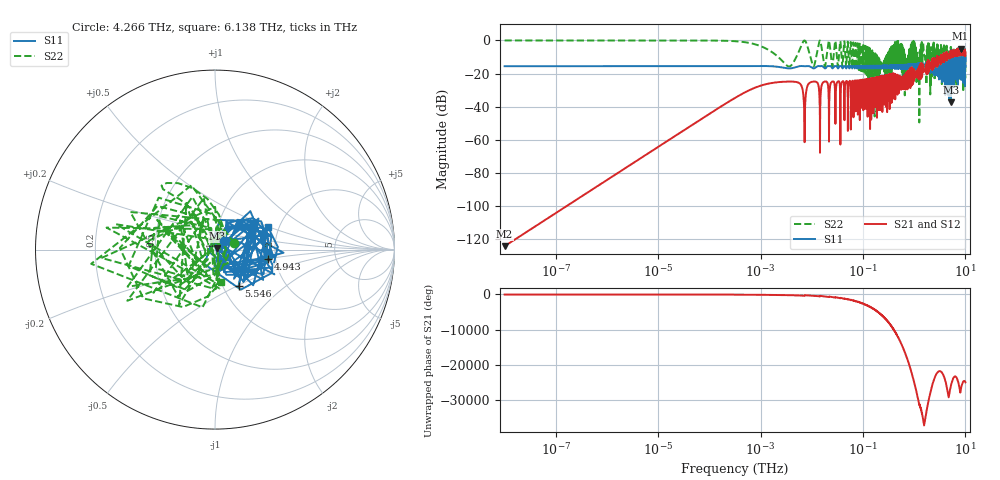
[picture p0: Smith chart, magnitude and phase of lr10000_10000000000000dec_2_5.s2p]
! NPort=2 DATA=4501 NOISE=0 GROUPDELAY=0 COMPLEX_DATAFORMAT=RI
! NumOfBlock=1 NumOfParam=0
! .MODEL Smodel S TSTONEFILE=./link_rx/link_rx_s3/lr10000_10000000000000dec_2_5.s2p TYPE=S
!  -- The above .MODEL line can be used for the S element in the netlist.
# Hz S RI R  50
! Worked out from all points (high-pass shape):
!   4501 points, 10 kHz to 10 THz, reference 50 ohm
!   highest |S21| = -4.89 dB at 8.054 THz (marker M1); lowest = -124.3 dB at 10 kHz (marker M2)
!   |S21| within 3 dB of the highest: 7.645 THz to 7.819 THz (173.4 GHz wide, 2.24 % of centre); 9.153 THz to 9.45 THz (297.4 GHz wide, 3.2 % of centre)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
!   lowest |S11| = -37.3 dB at 5.2 THz (marker M3), VSWR 1.03, Z = 51.1 + j0.847 ohm
!   |S11| at or under -10 dB: start of sweep to 4.304 THz; 4.307 THz to 4.918 THz (611.3 GHz wide, 13.3 % of centre); 4.925 THz to 5.248 THz (322.4 GHz wide, 6.34 % of centre)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
!   |S22| runs from -49.5 to 0.0 dB; largest |S21 - S12| = 1e-10
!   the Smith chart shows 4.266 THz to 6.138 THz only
!   S11 on the Smith chart (normalised r, x): 4.266 THz: 1.10, +0.10; 4.943 THz: 1.83, -0.22; 5.546 THz: 1.19, -0.51; 6.138 THz: 1.76, +0.48
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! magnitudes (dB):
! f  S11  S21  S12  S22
! 10 kHz  -15.6  -124.3  -124.3  0.0
! 316.2 kHz  -15.6  -94.3  -94.3  0.0
! 1.652 MHz  -15.6  -79.9  -79.9  0.0
! 10 MHz  -15.6  -64.3  -64.3  0.0
! 316.2 MHz  -15.5  -34.7  -34.7  -0.5
! 3.581 GHz  -16.9  -24.9  -24.9  -15.7
! 5.834 GHz  -15.5  -26.0  -26.0  -5.4
! 7.244 GHz  -15.6  -61.5  -61.5  0.0
! 10 GHz  -16.4  -25.0  -25.0  -13.2
! 14.32 GHz  -15.6  -41.5  -41.5  -0.1
! 17.78 GHz  -16.8  -24.9  -24.9  -15.6
! 21.48 GHz  -15.5  -37.8  -37.8  -0.2
! 316.2 GHz  -16.7  -24.9  -24.9  -26.2
! 465.6 GHz  -15.2  -21.4  -21.4  -6.7
! 724.4 GHz  -15.5  -26.1  -26.1  -15.5
! 4.266 THz  -23.5  -12.3  -12.3  -18.9
! 4.943 THz  -10.4  -9.5  -9.5  -14.8
! 5.2 THz  -37.3  -9.9  -9.9  -12.5
! 5.546 THz  -12.4  -7.3  -7.3  -7.6
! 6.138 THz  -9.9  -9.3  -9.3  -14.7
! 8.054 THz  -12.8  -4.9  -4.9  -5.1
! 10 THz  -9.6  -8.9  -8.9  -22.9
